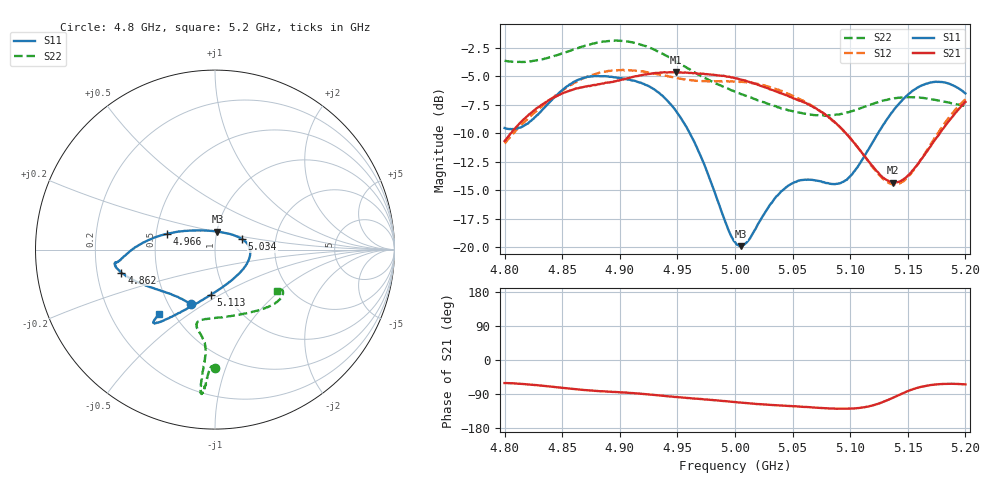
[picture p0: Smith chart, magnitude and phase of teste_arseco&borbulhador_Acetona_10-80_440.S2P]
! Network Analyzer HP8722D
! Hewlett-Packard
! Data name: Linha & Wilkinson
! Saver's name: Rodrigo Anjos
! Comments: Teste da utilização de aquisição
! continua pelo VNA HP8722D
! Time and date: 17/4/2025 18:01
!  Frequency  S11  S21  S12  S22
# HZ  S  MA R 50
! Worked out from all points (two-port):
!   401 points, 4.8 GHz to 5.2 GHz, reference 50 ohm
!   highest |S21| = -4.63 dB at 4.949 GHz (marker M1); lowest = -14.3 dB at 5.137 GHz (marker M2)
!   |S21| within 3 dB of the highest: 4.83 GHz to 5.067 GHz (236.4 MHz wide, 4.78 % of centre); 5.196401 GHz to end of sweep
!   lowest |S11| = -19.9 dB at 5.005 GHz (marker M3), VSWR 1.22, Z = 50.3 + j10.2 ohm
!   |S11| at or under -10 dB: 4.961 GHz to 5.124 GHz (163.2 MHz wide, 3.24 % of centre)
!   |S22| runs from -8.5 to -1.9 dB; largest |S21 - S12| = 0.88
!   S11 on the Smith chart (normalised r, x): 4.8 GHz: 0.65, -0.44; 4.862 GHz: 0.31, -0.11; 4.966 GHz: 0.57, +0.11; 5.034 GHz: 1.35, +0.16; 5.113 GHz: 0.84, -0.45; 5.2 GHz: 0.42, -0.39
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4.8e9  0.3335 -113.5  0.2922 -60.8  0.2855 -175.0  0.6583 -90.0
4.819e9  0.3471 -133.5  0.3734 -64.1  0.3611 -173.6  0.6533 -91.6
4.862e9  0.5365 -166.2  0.4974 -77.1  0.5302 -176.9  0.7451 -93.9
4.867e9  0.5501 -168.2  0.503 -78.6  0.548 -178.0  0.759 -94.2
4.898e9  0.5542 -172.7  0.5388 -84.7  0.5973 175.8  0.8063 -95.4
4.934e9  0.4762 -178.7  0.5824 -93.5  0.5744 172.0  0.7182 -95.8
4.949e9  0.395 174.0  0.5869 -97.4  0.5539 172.1  0.6531 -95.6
4.966e9  0.28 161.7  0.5803 -101.9  0.5374 173.8  0.5811 -95.1
5e9  0.1054 99.4  0.5522 -111.1  0.5346 176.2  0.4814 -99.4
5.005e9  0.1011 82.3  0.5436 -112.4  0.5316 176.1  0.4701 -100.5
5.012e9  0.1077 60.3  0.5321 -114.2  0.5271 176.0  0.4575 -101.9
5.034e9  0.1625 21.1  0.4859 -119.1  0.4963 174.7  0.4169 -103.7
5.05e9  0.191 4.7  0.4524 -122.1  0.4616 174.2  0.3951 -99.6
5.067e9  0.1975 -13.6  0.4152 -125.1  0.4176 173.6  0.3814 -90.7
5.093e9  0.193 -57.9  0.3295 -128.8  0.3285 174.0  0.3848 -70.5
5.113e9  0.2544 -95.6  0.2489 -124.2  0.2487 -179.7  0.4142 -54.8
5.134e9  0.3769 -116.7  0.1945 -103.9  0.1908 -156.9  0.4465 -42.9
5.137e9  0.3945 -118.5  0.1919 -99.9  0.1892 -151.8  0.4497 -41.6
5.15e9  0.4665 -124.5  0.2061 -82.3  0.2028 -131.9  0.4555 -36.7
5.168e9  0.5252 -128.8  0.2698 -67.1  0.2733 -113.5  0.4471 -32.3
5.184e9  0.5255 -130.5  0.3493 -63.1  0.3615 -107.3  0.4328 -31.0
5.2e9  0.4732 -130.9  0.4341 -64.3  0.4461 -106.5  0.4166 -33.4
